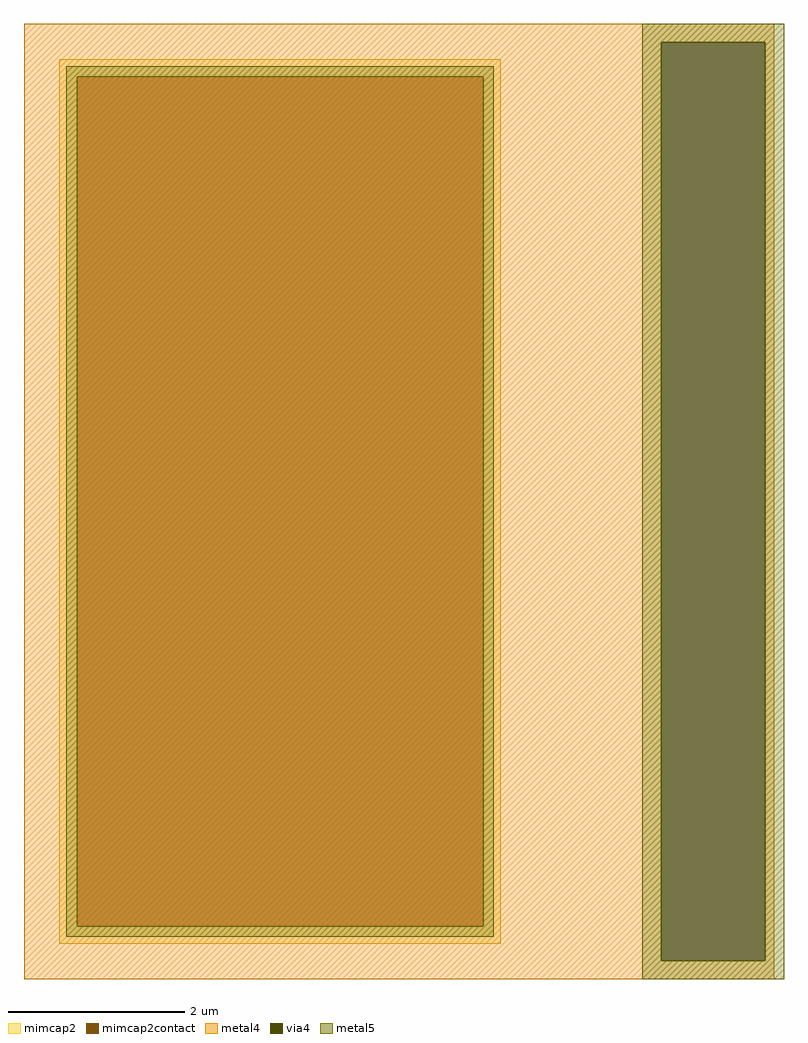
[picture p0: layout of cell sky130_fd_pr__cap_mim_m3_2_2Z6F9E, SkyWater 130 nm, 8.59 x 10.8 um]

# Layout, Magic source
magic
tech sky130B
<< metal4 >>
rect -424 519 424 540
rect -424 -519 296 519
rect 414 -519 424 519
rect -424 -540 424 -519
<< via4 >>
rect 296 -519 414 519
<< mimcap2 >>
rect -384 480 115 500
rect -384 -480 -364 480
rect 95 -480 115 480
rect -384 -500 115 -480
<< mimcap2contact >>
rect -364 -480 95 480
<< metal5 >>
rect 275 519 435 540
rect -376 480 107 492
rect -376 -480 -364 480
rect 95 -480 107 480
rect -376 -492 107 -480
rect 275 -519 296 519
rect 414 -519 435 519
rect 275 -540 435 -519
<< properties >>
string FIXED_BBOX -1698 -2160 622 2160
string gencell sky130_fd_pr__cap_mim_m3_2
string library sky130
string parameters w 5 l 10 val 105.7 carea 2.00 cperi 0.19 nx 1 ny 1 dummy 0 square 0 lmin 2.00 wmin 2.00 lmax 30.0 wmax 30.0 dc 0 bconnect 1 tconnect 1 ccov 100
<< end >>
